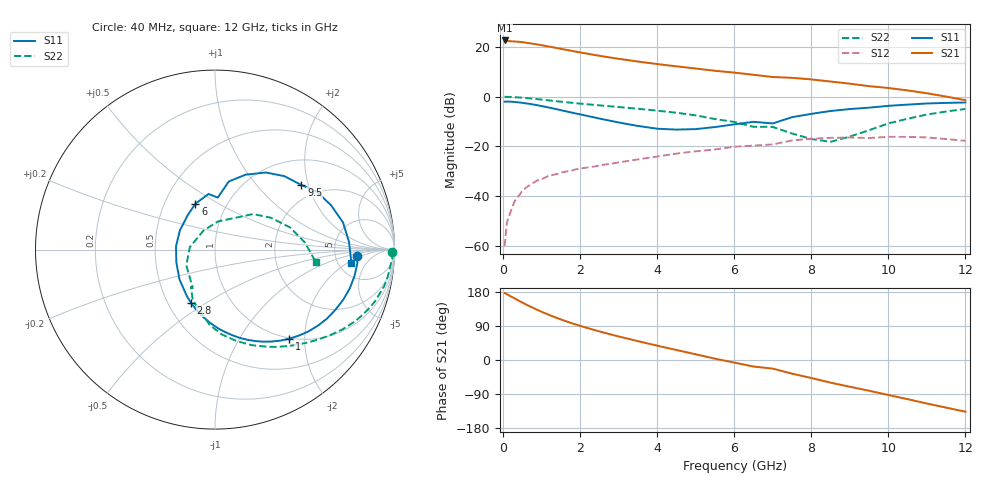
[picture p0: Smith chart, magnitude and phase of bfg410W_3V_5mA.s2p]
! Filename: 35bfg410.001
! BFG410W Field B1
! V1=8.531E-001V,V2=3.000E+000V, I1=6.983E-005A, I2=5.000E-003A
# GHz  S  MA  R 50
!  S11  S21  S12  S22
!Freq(GHz)  Mag  Ang  Mag  Ang  Mag  Ang  Mag  Ang
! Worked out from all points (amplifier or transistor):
!   44 points, 40 MHz to 12 GHz, reference 50 ohm
!   highest |S21| = 22.5 dB at 40 MHz (marker M1)
!   |S21| within 3 dB of that: start of sweep to 1.381 GHz
!   unconditionally stable (mu >= 1): 2.587 GHz to end of sweep
!   at 700 MHz: K = 0.33, MSG = 28.4 dB, |S12| = -35.4 dB
!   at 2.4 GHz: K = 0.95, MSG = 22.3 dB, |S12| = -28.0 dB
!   at 12 GHz: K = 1.59, MAG = 3.6 dB, |S12| = -17.7 dB
!   S11 on the Smith chart (normalised r, x): 40 MHz: 8.28, -1.54; 1 GHz: 0.99, -1.68; 2.8 GHz: 0.65, -0.43; 6 GHz: 0.71, +0.39; 9.5 GHz: 1.60, +1.81; 12 GHz: 6.63, -2.29
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0.04  0.791 -2.5  13.39 176.6  0.001 77.7  0.989 -0.8
0.1  0.797 -5.4  13.1 173.6  0.003 84.9  0.989 -2.8
0.3  0.781 -16.2  12.77 162.7  0.008 79.0  0.974 -9.1
0.5  0.75 -26.6  12.36 151.6  0.013 73.0  0.95 -14.9
0.7  0.713 -36.5  11.72 141.4  0.017 67.8  0.922 -20.4
1  0.646 -50.2  10.75 127.2  0.022 61.2  0.872 -27.6
1.3  0.579 -62.4  9.733 114.7  0.027 56.1  0.822 -33.8
1.6  0.514 -73.8  8.806 103.5  0.031 52.1  0.777 -39.2
1.9  0.457 -84.1  7.963 93.4  0.035 49.1  0.737 -44.2
2.2  0.408 -94.1  7.234 84.1  0.038 46.8  0.701 -49.0
2.8  0.326 -114.1  6.057 67.3  0.045 42.9  0.638 -58.2
3.5  0.258 -140.1  5.056 49.7  0.055 37.9  0.571 -68.9
4.5  0.218 175.2  4.053 26.4  0.072 28.1  0.475 -85.3
5.5  0.245 128.3  3.299 3.5  0.087 14.4  0.355 -102.9
6  0.278 113.1  3.034 -6.7  0.099 8.7  0.311 -113.3
6.5  0.312 96.6  2.741 -17.3  0.104 1.8  0.248 -122.8
7  0.29 86.8  2.475 -22.8  0.11 7.8  0.247 -120.1
8  0.451 67.8  2.214 -47.5  0.143 -18.3  0.141 174.4
8.5  0.515 56.5  2.008 -59.8  0.149 -31.0  0.124 121.1
9.5  0.601 36.8  1.618 -81.0  0.148 -51.0  0.212 56.9
10.5  0.692 21.0  1.331 -103.3  0.156 -71.8  0.36 29.4
12  0.763 -5.4  0.848 -136.5  0.13 -110.9  0.566 -7.1
